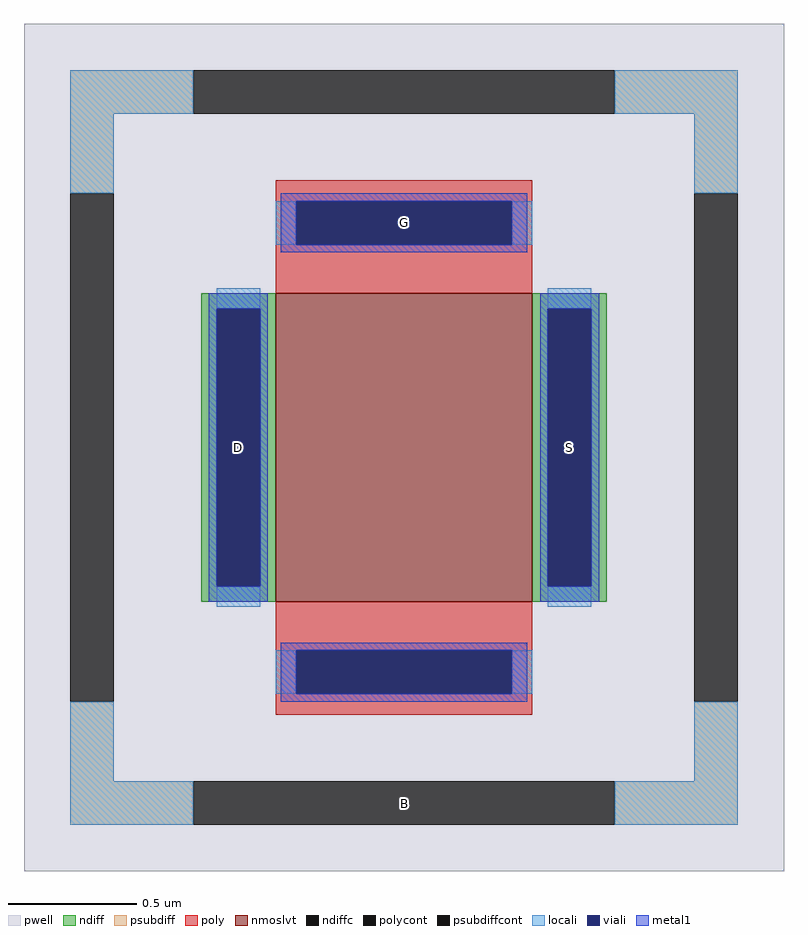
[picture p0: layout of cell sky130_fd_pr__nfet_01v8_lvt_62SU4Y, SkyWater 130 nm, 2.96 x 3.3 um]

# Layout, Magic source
magic
tech sky130A
magscale 1 2
<< pwell >>
rect -296 -330 296 330
<< nmoslvt >>
rect -100 -120 100 120
<< ndiff >>
rect -158 108 -100 120
rect -158 -108 -146 108
rect -112 -108 -100 108
rect -158 -120 -100 -108
rect 100 108 158 120
rect 100 -108 112 108
rect 146 -108 158 108
rect 100 -120 158 -108
<< ndiffc >>
rect -146 -108 -112 108
rect 112 -108 146 108
<< psubdiff >>
rect -260 260 -164 294
rect 164 260 260 294
rect -260 198 -226 260
rect 226 198 260 260
rect -260 -260 -226 -198
rect 226 -260 260 -198
rect -260 -294 -164 -260
rect 164 -294 260 -260
<< psubdiffcont >>
rect -164 260 164 294
rect -260 -198 -226 198
rect 226 -198 260 198
rect -164 -294 164 -260
<< poly >>
rect -100 192 100 208
rect -100 158 -84 192
rect 84 158 100 192
rect -100 120 100 158
rect -100 -158 100 -120
rect -100 -192 -84 -158
rect 84 -192 100 -158
rect -100 -208 100 -192
<< polycont >>
rect -84 158 84 192
rect -84 -192 84 -158
<< locali >>
rect -260 260 -164 294
rect 164 260 260 294
rect -260 198 -226 260
rect 226 198 260 260
rect -100 158 -84 192
rect 84 158 100 192
rect -146 108 -112 124
rect -146 -124 -112 -108
rect 112 108 146 124
rect 112 -124 146 -108
rect -100 -192 -84 -158
rect 84 -192 100 -158
rect -260 -260 -226 -198
rect 226 -260 260 -198
rect -260 -294 -164 -260
rect 164 -294 260 -260
<< viali >>
rect -84 158 84 192
rect -146 -108 -112 108
rect 112 -108 146 108
rect -84 -192 84 -158
<< metal1 >>
rect -96 192 96 198
rect -96 158 -84 192
rect 84 158 96 192
rect -96 152 96 158
rect -152 108 -106 120
rect -152 -108 -146 108
rect -112 -108 -106 108
rect -152 -120 -106 -108
rect 106 108 152 120
rect 106 -108 112 108
rect 146 -108 152 108
rect 106 -120 152 -108
rect -96 -158 96 -152
rect -96 -192 -84 -158
rect 84 -192 96 -158
rect -96 -198 96 -192
<< labels >>
rlabel psubdiffcont 0 -277 0 -277 0 B
port 5 nsew
rlabel ndiffc -129 0 -129 0 0 D
port 6 nsew
rlabel ndiffc 129 0 129 0 0 S
port 7 nsew
rlabel polycont 0 175 0 175 0 G
port 8 nsew
<< properties >>
string FIXED_BBOX -243 -277 243 277
string gencell sky130_fd_pr__nfet_01v8_lvt
string library sky130
string parameters w 1.2 l 1.0 m 1 nf 1 diffcov 100 polycov 100 guard 1 glc 1 grc 1 gtc 1 gbc 1 tbcov 100 rlcov 100 topc 1 botc 1 poverlap 0 doverlap 1 lmin 0.15 wmin 0.42 class mosfet compatible {sky130_fd_pr__nfet_01v8 sky130_fd_pr__nfet_01v8_lvt  sky130_fd_bs_flash__special_sonosfet_star  sky130_fd_pr__nfet_g5v0d10v5 sky130_fd_pr__nfet_05v0_nvt  sky130_fd_pr__nfet_03v3_nvt} full_metal 1 conn_gates 0 viasrc 100 viadrn 100 viagate 100 viagb 0 viagr 0 viagl 0 viagt 0 doports 1
<< end >>
